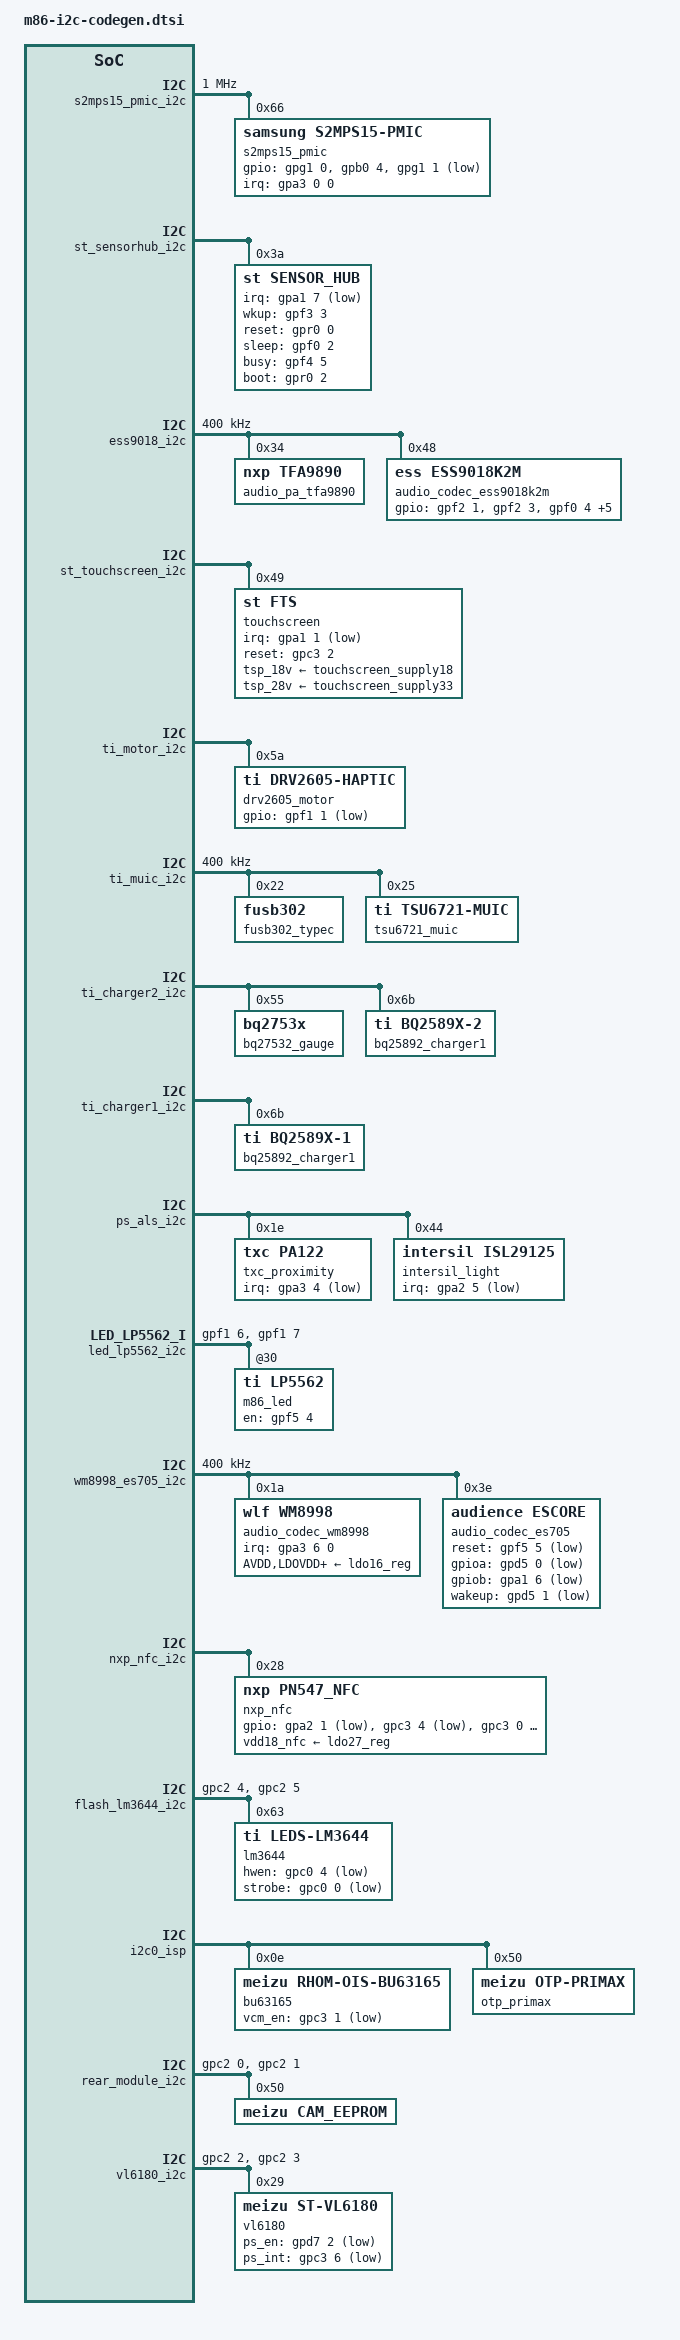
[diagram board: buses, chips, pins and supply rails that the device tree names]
#define st_sensorhub_i2c	hsi2c_0
#define wm8998_es705_i2c	hsi2c_1
#define ti_motor_i2c		hsi2c_2
#define st_touchscreen_i2c	hsi2c_4
#define s2mps15_pmic_i2c	hsi2c_5
#define ti_charger2_i2c	hsi2c_6
#define ess9018_i2c		hsi2c_7
#define ti_muic_i2c 		hsi2c_8
#define nxp_nfc_i2c		hsi2c_9
#define ps_als_i2c		hsi2c_10
#define ti_charger1_i2c 	hsi2c_11

#define led_lp5562_i2c		gpioi2c_0
#define flash_lm3644_i2c	gpioi2c_1
#define rear_module_i2c	gpioi2c_2
#define vl6180_i2c		gpioi2c_3

&s2mps15_pmic_i2c {
	status = "okay";
	samsung,hs-mode;
	clock-frequency = <1000000>;
	samsung,use-apm;

	s2mps15_pmic: s2mps15@66 {
		compatible = "samsung,s2mps15-pmic";
		reg = <0x66>;
		interrupts = <0 0 0>;
		interrupt-parent = <&gpa3>;
		pinctrl-names = "default";
		pinctrl-0 = <&pmic_irq &pm_wrsti &g3d_dvs>;
		gpios = <&gpg1 0 0>, <&gpb0 4 0x2>, <&gpg1 1 0x1>;
		smpl_warn_en = <1>; /* 1 : enable , 0 : disable*/
		/* range of smpl_warn_vth */
		/* PMIC1 */
		/* 2100 : 2.3V, 2300 : 2.3V, 2500 : 2.5V, 2700 : 2.7V 2900 : 2.9V */
		/* 3100 : 3.0V, 3300 : 3.0V, 3500 : 3.0V */
		/* PMIC2 */
		/* 2100 : 2.1V, 2300 : 2.3V, 2500 : 2.5V, 2700 : 2.7V 2900 : 2.9V */
		/* 3100 : 3.1V, 3300 : 3.3V, 3500 : 3.5V */
		smpl_warn_vth = <2900>;
		smpl_warn_hys = <0x00>; /* LOwBat_Hys[4:3] 00(100mV)~11(400mV) */
		adc-on;
		buck_dvs_on;
		g3d_en = <1>; /* 1 : enable , 0 : disable */
		dvs_en = <1>; /* 1 : enable , 0 : disable */
		buck6en_pin = "gpb0-4";
		buck6en_addr = "13470000.pinctrl";
		/* RTC: wtsr/smpl */
		wtsr_en = <1>; /* enable */
		smpl_en = <1>; /* enable */
		wtsr_timer_val = <3>;	/* 1000ms */
		smpl_timer_val = <4>;	/* 500ms */
		check_jigon = <0>; /* do not check jigon */
		/* RTC: If it's first boot, reset rtc to 1/1/2014 12:00:00(Wed) */
		init_time,sec = <0>;
		init_time,min = <0>;
		init_time,hour = <12>;
		init_time,mday = <1>;
		init_time,mon = <0>;
		init_time,year = <114>;
		init_time,wday = <3>;
	};
};

&st_sensorhub_i2c {
	status = "okay";
	sensor_hub@3a {
		compatible = "st,sensor_hub";
		reg = <0x3a>;

		mx-hub,pwr28-reg-name = "vdd28_sen";
		/*mx-hub,pwr18-reg-name = "vdd18-mcu";*/
		pinctrl-names = "sensorhub_irq";
		pinctrl-0 = <&hub_irq>;
		mx-hub,irq-gpio = <&gpa1 7 0x0F>;
		mx-hub,irq-flags = <0x2>;
		mx-hub,wkup-gpio = <&gpf3 3 0>;
		mx-hub,reset-gpio = <&gpr0 0 0>;
		mx-hub,sleep-gpio = <&gpf0 2 0>;
		mx-hub,busy-gpio = <&gpf4 5 0>;
		mx-hub,boot-gpio = <&gpr0 2 0>;
	};
};

&ess9018_i2c {
	status = "okay";
	clock-frequency = <400000>;

	audio_pa_tfa9890: tfa9890_i2c@34 {
		compatible ="nxp,tfa9890";
		reg = <0x34>;
	};

	audio_codec_ess9018k2m: audio-codec-ess9018k2m@48 {
		compatible = "ess,ess9018k2m";
		reg = <0x48>;
		gpios = <&gpf2 1 0 /* 48khz_osc */
			&gpf2 3 0 /* 44100hz_osc */
			&gpf0 4 0 /* resetb */
			&gpf1 3 0 /* mute */
			&gpf5 0 0 /* op_en */
			&gpf1 0 0 /* low gain */
			&gpf1 4 0 /* out select */
			&gpf4 1 0 /* dvdd18 on */>;
			pinctrl-names = "default";
	};
};

&st_touchscreen_i2c {
	status = "okay";
	touchscreen@49 {
		compatible = "st,fts";
		reg = <0x49>;
		/*pinctrl-names = "on_state", "off_state";*/
		pinctrl-names = "touch_irq";
		pinctrl-0 = <&touchpanel_irq>;
		/*pinctrl-1 = <&touchpanel_input>;*/
		touch,irq-gpio = <&gpa1 1 0x0F>;
		irq_type = <8200>;
		touch,reset-gpio = <&gpc3 2 0>;
		touch,regulator_vddio = "vdd18_touch";
		touch,regulator_vdd = "vdd33_touch";
		tsp_18v-supply = <&touchscreen_supply18>;
		tsp_28v-supply = <&touchscreen_supply33>;
	};
};

/*motor begin*/
&ti_motor_i2c{
	status = "okay";
		drv2605_motor@5a {
		compatible = "ti,drv2605-haptic";
		reg = <0x5a>;
		gpios = <&gpf1 1 1>;/*motor enable pin*/
		motor_calib_version=<3>;
	};
};
/*motor end*/

/*muic begin*/
&ti_muic_i2c{
	status = "okay";
	clock-frequency = <400000>;

	fusb302_typec@22{
		compatible = "fusb302";
		reg = <0x22>;
		int-ccd = <&gpa1 5 0xf>;
		pd-on = <&gpr3 4 0x01>;
		pinctrl-names = "default";
		pinctrl-0 = <&ccd_int  &pd_on>;
	};

	tsu6721_muic@25{
		compatible = "ti,tsu6721-muic";
		reg = <0x25>;
		int-muic = <&gpa0 1 0xf>;
		pinctrl-names = "default";
		pinctrl-0 = <&muic_int>;
	};
};
/*muic end*/

&ti_charger2_i2c{
	status = "okay";
	/*fuel gauge begin*/
	bq27532_gauge@55{
		compatible = "bq2753x";
		reg = <0x55>;
		int-gauge = <&gpa0 5 0xf>;
		pinctrl-names = "default";
		pinctrl-0 = <&gauge_int>;
	};
	/*fuelgauge end*/
	/*charger2 begin*/
	bq25892_charger1@6b{
		compatible = "ti,bq2589x-2";
		reg = <0x6b>;
		chg2-int = <&gpa0 2 0xf>;
		chg2-en = <&gpr3 2 1>;
		pinctrl-names = "default";
		pinctrl-0 = <&chg2_int  &chg2_en>;
	};
	/*charger2 end*/
};

&ti_charger1_i2c{
	status = "okay";
	/*charger1 begin*/
	bq25892_charger1@6b{
		compatible = "ti,bq2589x-1";
		reg = <0x6b>;
		chg1-int = <&gpa0 3 0xf>;
		chg1-en = <&gpr3 0 1>;
		pinctrl-names = "default";
		pinctrl-0 = <&chg1_int &chg1_en>;
	};
	/*charger1 end*/
};

&ps_als_i2c {
	status = "okay";

	txc_proximity@1e {
		compatible = "txc,pa122", "txc,pa224";
		reg = <0x1e>;
		txc,irq-gpio = <&gpa3 4 0x0F>;
		pinctrl-names = "txc_ps";
		pinctrl-0 = <&ps_irq>;
		txc,power_reg = "vdd28_sen";
	};

	intersil_light@44 {
		compatible = "intersil,isl29125";
		reg = <0x44>;
		isl,irq-gpio = <&gpa2 5 0x0F>;
		pinctrl-names = "intersil_light";
		pinctrl-0 = <&light_irq>;
		isl,power_reg = "vdd28_sen";
	};
};

&led_lp5562_i2c {
	status = "okay";
	gpios = <&gpf1 6 0 /* sda */
		 &gpf1 7 0 /* scl */>;
	i2c-gpio,delay-us = <2>;	/* ~100khz */
	#address-cells = <1>;
	#size-cells = <0>;

	m86_led@30 {
		compatible = "ti,lp5562";
		reg = <0x30>;
		led,en_gpio = <&gpf5 4 0>;
/*
		pinctrl-names = "on_state", "off_state";
		pinctrl-0 = <&touchpanel_irq>;
		pinctrl-1 = <&touchpanel_input>;
*/
	};
};

&wm8998_es705_i2c {
	status = "okay";
	clock-frequency = <400000>;

	audio_codec_wm8998: audio-codec-wm8998@1a {
		compatible = "wlf,wm8998";
		reg = <0x1a>;
		interrupts = <6 0 0>;
		interrupt-parent = <&gpa3>;

		wlf,reset = <&gpd0 1 1>;
		wlf,ldoena = <&gpj0 2 1>;
		wlf,micd-ranges = <
			105 226 /* KEY_MEDIA */
			270 115 /* KEY_VOLUMEUP */
			752 114 /* KEY_VOLUMEDOWN */ >;
		wlf,micd-configs = <0 1 0>;
		wlf,micbias1 = <2600 0 1 0 0>;
		wlf,micbias2 = <1800 0 1 0 0>;
		wlf,micbias3 = <1800 0 1 0 0>;
		wlf,clk32k-src = <2>; /* MCLK2 */
		wlf,micd-detect-debounce = <500>;
		wlf,micd-bias-start-time = <9>;
		wlf,micd-rate = <5>;
		wlf,micd-dbtime = <1>;
		wlf,micd-force-micbias = <1>;
		wlf,micd-open-circuit-declare = <1>;
		pinctrl-names = "default";
		pinctrl-0 = <&wm8998_reset &wm8998_ldoena &wm8998_irq>;

		AVDD-supply = <&ldo16_reg>; /* AVDD18 */
		LDOVDD-supply = <&ldo16_reg>; /* DVDD18 */
		DBVDD-supply = <&ldo16_reg>; /* DVDD18 */
		DBVDD1-supply = <&ldo16_reg>; /* DVDD18 */
		DBVDD2-supply = <&ldo16_reg>; /* DVDD18 */
		DBVDD3-supply = <&ldo16_reg>; /* DVDD18 */
		CPVDD-supply = <&ldo16_reg>; /* DVDD18 */
		SPKVDD-supply = <&ldo16_reg>; /* AVDD18 */
		SPKVDDL-supply = <&ldo16_reg>; /* AVDD18 */
		SPKVDDR-supply = <&ldo16_reg>; /* AVDD18 */
	};

	audio_codec_es705: audio-codec-es705@3e {
		compatible = "audience,escore";
		reg = <0x3e>;
		adnc,reset-gpio = <&gpf5 5 1>;
		adnc,gpioa-gpio = <&gpd5 0 0xf>;
		adnc,gpiob-gpio = <&gpa1 6 0xf>;
		adnc,wakeup-gpio = <&gpd5 1 1>;
		pinctrl-names = "default";
		pinctrl-0 = <&es705_reset &es705_irq &es705_wakeup &es705_api>;
	};
};

&nxp_nfc_i2c {
	status = "okay";
	samsung,i2c-sda-delay = <100>;
	samsung,i2c-max-bus-freq = <200000>;
	nxp_nfc@28 {
		compatible = "nxp,pn547_nfc";
		reg = <0x28>;
		gpios = <&gpa2 1 0xf /* nfc-irq */
			 &gpc3 4 0x1 /* nfc-dl-req */
			 &gpc3 0 0x1>; /* nfc-reset */
		vdd18_nfc-supply = <&ldo27_reg>;

		pinctrl-names ="default";
		pinctrl-0 = <&nfc_irq &nfc_gpin_fun>;
	};
};

&flash_lm3644_i2c {
	status = "okay";
	gpios = <&gpc2 4 0 /* sda */
		 &gpc2 5 0 /* scl */
		 >;
	i2c-gpio,delay-us = <2>; /* 250KHz */
	#address-cells = <1>;
	#size-cells = <0>;

	lm3644@63 {
		compatible = "ti,leds-lm3644";
		hwen-gpio = <&gpc0 4 0x01>;
		strobe-gpio = <&gpc0 0 0x01>;
		pinctrl-names = "torch-temp";
		pinctrl-0 = <&torch_temp>;
		reg = <0x63>;
	};
};

#if 0
&rear_module_i2c {
	status = "okay";
	gpios = <&gpc2 0 0 /* sda */
		 &gpc2 1 0 /* scl */
		 >;
	i2c-gpio,delay-us = <2>; /* 250KHz */
	#address-cells = <1>;
	#size-cells = <0>;

	bu63165@0e {
		compatible = "meizu,rhom-ois-bu63165";
		reg = <0x0e>;
		gpio_vcm_en = <&gpc3 1 0x1>;
	};

	otp_primax@50 {
		compatible = "meizu,otp-primax";
		reg = <0x50>;
	};
};
#else
&i2c0_isp {
	status = "okay";
	samsung,i2c-sda-delay = <100>;
	samsung,i2c-max-bus-freq = <400000>;

	bu63165@0e {
		compatible = "meizu,rhom-ois-bu63165";
		reg = <0x0e>;
		gpio_vcm_en = <&gpc3 1 0x1>;
	};

	otp_primax@50 {
		compatible = "meizu,otp-primax";
		reg = <0x50>;
	};
};
#endif

&rear_module_i2c {
	status = "okay";
	gpios = <&gpc2 0 0 /* sda */
		 &gpc2 1 0 /* scl */
		 >;
	i2c-gpio,delay-us = <2>; /* 250KHz */
	#address-cells = <1>;
	#size-cells = <0>;

	cam_eeprom@50 {
		compatible = "meizu,cam_eeprom";
		reg = <0x50>;
	};
};

&vl6180_i2c {
	status = "okay";
	gpios = <&gpc2 2 0 /* sda */
		 &gpc2 3 0 /* scl */
		 >;
	i2c-gpio,delay-us = <2>; /* 250KHz */
	#address-cells = <1>;
	#size-cells = <0>;

	vl6180@29 {
		compatible = "meizu,st-vl6180";
		reg = <0x29>;
		gpio_ps_en = <&gpd7 2 0x1>;
		gpio_ps_int = <&gpc3 6 0x1>;
	};
};

